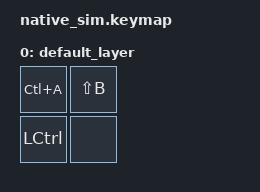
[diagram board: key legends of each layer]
#include <dt-bindings/zmk/keys.h>
#include <behaviors.dtsi>
#include <dt-bindings/zmk/input_mock.h>


&mock_input {
    events = <
        ZMK_INPUT_MOCK_PRESS(1,0,10)
        ZMK_INPUT_MOCK_PRESS(0,1,10)
        ZMK_INPUT_MOCK_RELEASE(1,0,10)
        ZMK_INPUT_MOCK_RELEASE(0,1,10)
    >;
};

/ {
    keymap {
        compatible = "zmk,keymap";

        default_layer {
            bindings = <
                &kp LC(A) &kp LS(B)
                &kp LEFT_CONTROL &none
            >;
        };
    };
};
